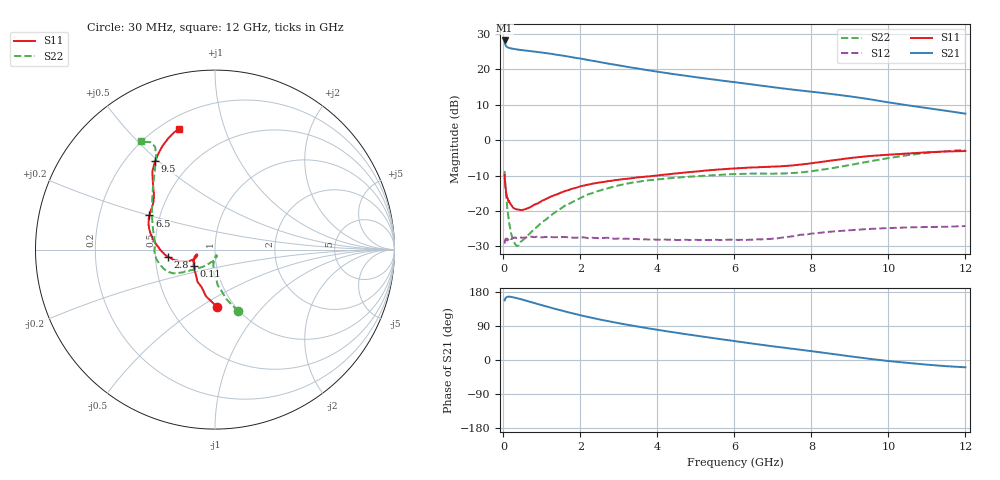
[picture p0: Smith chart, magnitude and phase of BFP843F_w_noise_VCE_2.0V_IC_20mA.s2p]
! Infineon Technologies  Discrete & RF Semiconductors
! BFP843F
! VCE =  2.0 V,  IC =  20 mA
! Common Emitter S-Parameters:  Aug 2013
# GHz  S  MA  R  50
!  f  S11  S21  S12  S22
! GHz  MAG  ANG  MAG  ANG  MAG  ANG  MAG  ANG
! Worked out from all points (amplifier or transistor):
!   103 points, 30 MHz to 12 GHz, reference 50 ohm
!   highest |S21| = 28.1 dB at 30 MHz (marker M1)
!   |S21| within 3 dB of that: start of sweep to 688.9 MHz
!   unconditionally stable (mu >= 1): 120.9 MHz to 137.8 MHz; 153.8 MHz to end of sweep
!   at 400 MHz: K = 1.02, MAG = 25.7 dB, |S12| = -27.7 dB
!   at 3.7 GHz: K = 1.23, MAG = 21.0 dB, |S12| = -28.0 dB
!   at 12 GHz: K = 1.22, MAG = 13.1 dB, |S12| = -24.3 dB
!   lowest NFmin = 0.91 dB at 450 MHz
!   S11 on the Smith chart (normalised r, x): 30 MHz: 0.83, -0.59; 110 MHz: 0.77, -0.15; 2.8 GHz: 0.58, -0.05; 6.5 GHz: 0.44, +0.20; 9.5 GHz: 0.32, +0.49; 12 GHz: 0.27, +0.71
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0.03  0.3196 -88.1  25.45 157.3  0.0346 29.1  0.3672 -69.4
0.04  0.2636 -101.2  23.43 159.3  0.0385 20.1  0.2862 -76.7
0.05  0.2237 -109.1  22.16 162.5  0.038 17.5  0.2273 -81.7
0.06  0.2042 -118.6  21.62 163.9  0.0408 17.6  0.1998 -85.6
0.08  0.1695 -130.1  20.9 165.7  0.0387 14.5  0.1454 -91.4
0.11  0.1508 -142.3  20.35 166.9  0.0403 9.5  0.0997 -95.0
0.2  0.1217 -160.3  19.62 166.5  0.0401 5.6  0.0477 -93.2
0.35  0.1051 -165.3  19 163.1  0.0412 4.6  0.0319 -75.8
0.9  0.1285 -155.7  17.45 147.4  0.0436 1.6  0.0617 -96.7
1.3  0.1652 -157.7  16.28 136.1  0.0427 1.4  0.0923 -116.7
1.6  0.1909 -160.1  15.37 128.1  0.043 0.9  0.1191 -126.0
2.1  0.2289 -164.9  13.81 115.7  0.0424 -0.1  0.1617 -136.9
2.8  0.2666 -171.6  11.8 101.0  0.0413 2.1  0.216 -144.2
3.5  0.2985 -178.2  10.2 88.0  0.0401 2.9  0.2585 -149.4
4.1  0.3226 176.3  9.066 78.1  0.0393 4.0  0.2823 -153.5
5  0.3604 168.0  7.726 64.4  0.0392 7.5  0.3084 -161.1
6.1  0.4014 157.3  6.464 48.5  0.0391 13.0  0.3323 -172.8
6.5  0.4123 152.5  6.064 42.9  0.0395 14.3  0.3365 -177.5
8.5  0.5137 132.4  4.485 16.6  0.0511 22.4  0.3987 151.8
9.5  0.5964 124.0  3.781 3.3  0.0558 20.0  0.5001 133.6
10.5  0.6472 116.9  3.098 -7.6  0.0587 18.4  0.613 122.3
12  0.7011 106.8  2.361 -19.3  0.0613 19.6  0.73 124.4
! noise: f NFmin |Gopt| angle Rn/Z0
0.45  0.91  0.05  178  0.09
0.9  0.91  0.06  172  0.09
1.5  0.94  0.08  171  0.09
1.9  0.99  0.08  172  0.1
2.4  1.03  0.1  173  0.1
3.5  1.07  0.13  -176  0.16
5.5  1.18  0.21  -147  0.23
10  1.69  0.38  -105  0.33
